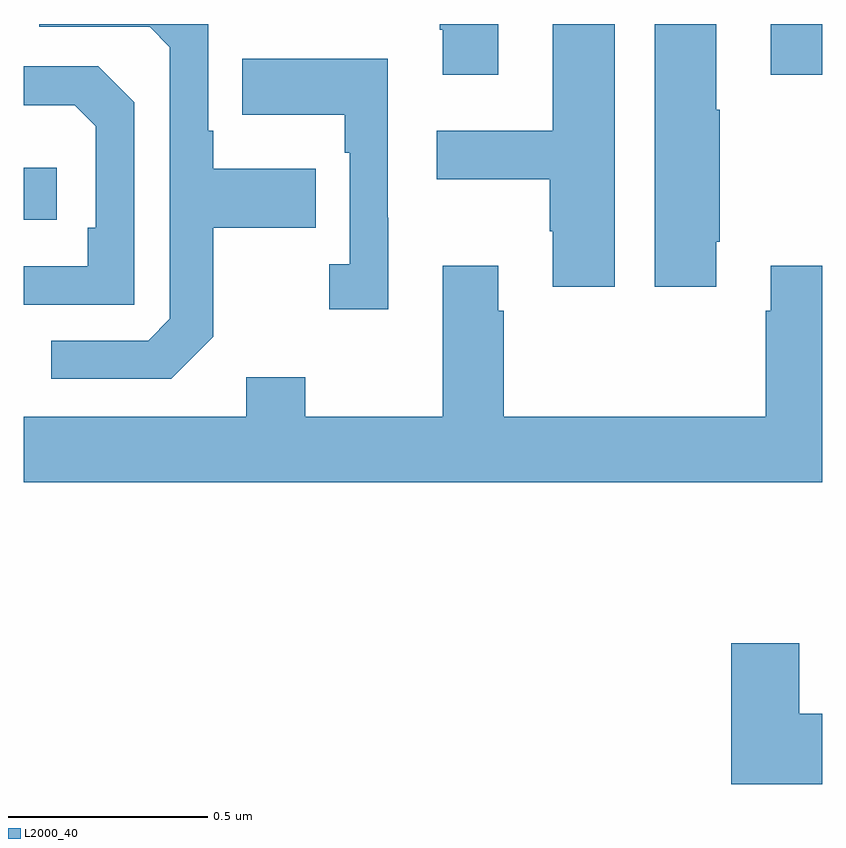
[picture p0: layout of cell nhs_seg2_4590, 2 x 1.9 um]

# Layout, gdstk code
import gdstk
lib = gdstk.Library(unit=1e-6, precision=1e-09)
def R(c, l, rs):  # rectangles x0, y0, x1, y1
    for r in rs: c.add(gdstk.rectangle(r[:2], r[2:], *l))
def P(c, l, *ps):  # polygons
    for p in ps: c.add(gdstk.Polygon(p, *l))
L2000_40 = (2000, 40)

nhs_seg2_4590 = lib.new_cell('nhs_seg2_4590')
R(nhs_seg2_4590, L2000_40, [(168,632.31,168.082,632.44), (169.871,632.673,170,632.8)])
P(nhs_seg2_4590, L2000_40, [(169.189,632.8),(169.042,632.8),(169.042,632.785),(169.049,632.785),(169.049,632.673),(169.189,632.673)],
  [(169.48,632.8),(169.325,632.8),(169.325,632.533),(169.035,632.533),(169.035,632.411),(169.318,632.411),(169.318,632.281),(169.325,632.281),(169.325,632.142),(169.48,632.142)],
  [(168.475,632.017),(168.475,632.29),(168.731,632.29),(168.731,632.437),(168.475,632.437),(168.475,632.533),(168.462,632.533),(168.462,632.8),(168.039,632.8),(168.039,632.793),(168.315,632.793),(168.366,632.742),(168.366,632.061),(168.312,632.007),(168.069,632.007),(168.069,631.911),(168.369,631.911)],
  [(169.735,632.254),(169.743,632.254),(169.743,632.585),(169.735,632.585),(169.735,632.8),(169.58,632.8),(169.58,632.142),(169.735,632.142)],
  [(168.913,632.315),(168.912,632.315),(168.912,632.713),(168.547,632.713),(168.547,632.573),(168.804,632.573),(168.804,632.477),(168.816,632.477),(168.816,632.198),(168.765,632.198),(168.765,632.085),(168.913,632.085)],
  [(168.276,632.604),(168.186,632.694),(168,632.694),(168,632.597),(168.127,632.597),(168.18,632.544),(168.18,632.29),(168.16,632.29),(168.16,632.193),(168,632.193),(168,632.097),(168.276,632.097)],
  [(170,632.194),(169.871,632.194),(169.871,632.081),(169.859,632.081),(169.859,631.816),(169.202,631.816),(169.202,632.081),(169.189,632.081),(169.189,632.194),(169.049,632.194),(169.049,631.816),(168.705,631.816),(168.705,631.915),(168.557,631.915),(168.557,631.816),(168,631.816),(168,631.652),(170,631.652)],
  [(170,631.072),(169.942,631.072),(169.942,631.249),(169.772,631.249),(169.772,630.896),(170,630.896)])

lib.write_gds('nhs_seg2_4590.gds')
